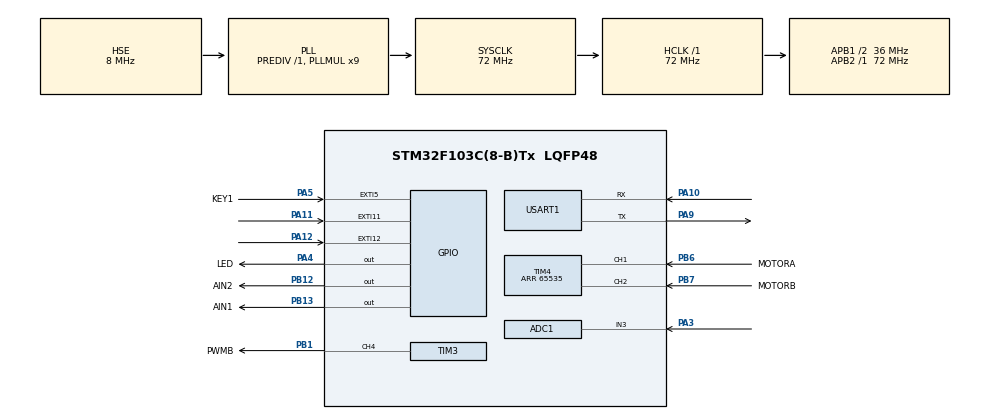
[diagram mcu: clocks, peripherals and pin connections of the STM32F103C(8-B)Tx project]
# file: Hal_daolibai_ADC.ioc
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ADC1.Channel-0\#ChannelRegularConversion=ADC_CHANNEL_3
ADC1.ContinuousConvMode=ENABLE
ADC1.DataAlign=ADC_DATAALIGN_RIGHT
ADC1.DiscontinuousConvMode=DISABLE
ADC1.EnableAnalogWatchDog=false
ADC1.EnableRegularConversion=ENABLE
ADC1.ExternalTrigConv=ADC_SOFTWARE_START
ADC1.InjNumberOfConversion=0
ADC1.NbrOfConversion=1
ADC1.NbrOfConversionFlag=1
ADC1.Rank-0\#ChannelRegularConversion=1
ADC1.SamplingTime-0\#ChannelRegularConversion=ADC_SAMPLETIME_55CYCLES_5
ADC1.ScanConvMode=ADC_SCAN_DISABLE
ADC1.master=1
Mcu.Family=STM32F1
Mcu.Name=STM32F103C(8-B)Tx
Mcu.Package=LQFP48
NVIC.ADC1_2_IRQn=true\:2\:0\:true\:false\:true\:true
NVIC.EXTI15_10_IRQn=true\:0\:0\:false\:false\:true\:true
NVIC.EXTI9_5_IRQn=true\:1\:0\:true\:false\:true\:true
NVIC.PriorityGroup=NVIC_PRIORITYGROUP_4
NVIC.TIM1_BRK_IRQn=true\:1\:0\:true\:false\:true\:true
NVIC.TIM1_UP_IRQn=true\:1\:0\:true\:false\:true\:true
PA10.Mode=Asynchronous
PA10.Signal=USART1_RX
PA11.GPIO_ModeDefaultEXTI=GPIO_MODE_IT_FALLING
PA11.GPIO_PuPd=GPIO_PULLUP
PA11.Signal=GPXTI11
PA12.GPIO_ModeDefaultEXTI=GPIO_MODE_IT_FALLING
PA12.GPIO_PuPd=GPIO_PULLUP
PA12.Signal=GPXTI12
PA13.Mode=Serial_Wire
PA13.Signal=SYS_JTMS-SWDIO
PA14.Mode=Serial_Wire
PA14.Signal=SYS_JTCK-SWCLK
PA3.Signal=ADCx_IN3
PA4.GPIO_Label=LED
PA4.GPIO_PuPd=GPIO_NOPULL
PA4.GPIO_Speed=GPIO_SPEED_FREQ_LOW
PA4.PinState=GPIO_PIN_SET
PA4.Signal=GPIO_Output
PA5.GPIO_Label=KEY1
PA5.GPIO_ModeDefaultEXTI=GPIO_MODE_IT_FALLING
PA5.GPIO_PuPd=GPIO_PULLUP
PA5.Signal=GPXTI5
PA9.Mode=Asynchronous
PA9.Signal=USART1_TX
PB1.GPIO_Label=PWMB
PB1.GPIO_Speed=GPIO_SPEED_FREQ_MEDIUM
PB1.Signal=S_TIM3_CH4
PB12.GPIO_Label=AIN2
PB12.GPIO_Speed=GPIO_SPEED_FREQ_LOW
PB12.Signal=GPIO_Output
PB13.GPIO_Label=AIN1
PB13.GPIO_Speed=GPIO_SPEED_FREQ_LOW
PB13.Signal=GPIO_Output
PB6.GPIO_Label=MOTORA
PB6.Signal=S_TIM4_CH1
PB7.GPIO_Label=MOTORB
PB7.Signal=S_TIM4_CH2
PD0-OSC_IN.Mode=HSE-External-Oscillator
PD0-OSC_IN.Signal=RCC_OSC_IN
PD1-OSC_OUT.Mode=HSE-External-Oscillator
PD1-OSC_OUT.Signal=RCC_OSC_OUT
ProjectManager.HeapSize=0x200
ProjectManager.StackSize=0x400
ProjectManager.TargetToolchain=MDK-ARM V5
RCC.ADCPresc=RCC_ADCPCLK2_DIV6
RCC.AHBFreq_Value=72000000
RCC.APB1CLKDivider=RCC_HCLK_DIV2
RCC.APB1Freq_Value=36000000
RCC.APB1TimFreq_Value=72000000
RCC.APB2Freq_Value=72000000
RCC.APB2TimFreq_Value=72000000
RCC.HCLKFreq_Value=72000000
RCC.PLLMUL=RCC_PLL_MUL9
RCC.PLLSourceVirtual=RCC_PLLSOURCE_HSE
RCC.SYSCLKFreq_VALUE=72000000
RCC.SYSCLKSource=RCC_SYSCLKSOURCE_PLLCLK
RCC.USBFreq_Value=72000000
SH.ADCx_IN3.0=ADC1_IN3,IN3
SH.S_TIM3_CH4.0=TIM3_CH4,PWM Generation4 CH4
SH.S_TIM4_CH1.0=TIM4_CH1,Encoder_Interface
SH.S_TIM4_CH2.0=TIM4_CH2,Encoder_Interface
TIM1.AutoReloadPreload=TIM_AUTORELOAD_PRELOAD_DISABLE
TIM1.Period=5000
TIM1.Prescaler=71
TIM1.RepetitionCounter=9
TIM3.Channel-PWM\ Generation4\ CH4=TIM_CHANNEL_4
TIM3.Period=10000
TIM3.Prescaler=1
TIM4.EncoderMode=TIM_ENCODERMODE_TI12
TIM4.IC1Filter=6
TIM4.IC2Filter=6
TIM4.Period=65535
USART1.VirtualMode=VM_ASYNC
VP_TIM1_VS_ClockSourceINT.Mode=Internal
VP_TIM3_VS_ClockSourceINT.Mode=Internal
board=custom

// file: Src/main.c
/**
  ******************************************************************************
  * @file           : main.c
  * @brief          : Main program body
  ******************************************************************************
  ** This notice applies to any and all portions of this file
  * that are not between comment pairs USER CODE BEGIN and
  * USER CODE END. Other portions of this file, whether
  * inserted by the user or by software development tools
  * are owned by their respective copyright owners.
  *
  * COPYRIGHT(c) 2019 STMicroelectronics
  *
  * Redistribution and use in source and binary forms, with or without modification,
  * are permitted provided that the following conditions are met:
  *   1. Redistributions of source code must retain the above copyright notice,
  *      this list of conditions and the following disclaimer.
  *   2. Redistributions in binary form must reproduce the above copyright notice,
  *      this list of conditions and the following disclaimer in the documentation
  *      and/or other materials provided with the distribution.
  *   3. Neither the name of STMicroelectronics nor the names of its contributors
  *      may be used to endorse or promote products derived from this software
  *      without specific prior written permission.
  *
  * THIS SOFTWARE IS PROVIDED BY THE COPYRIGHT HOLDERS AND CONTRIBUTORS "AS IS"
  * AND ANY EXPRESS OR IMPLIED WARRANTIES, INCLUDING, BUT NOT LIMITED TO, THE
  * IMPLIED WARRANTIES OF MERCHANTABILITY AND FITNESS FOR A PARTICULAR PURPOSE ARE
  * DISCLAIMED. IN NO EVENT SHALL THE COPYRIGHT HOLDER OR CONTRIBUTORS BE LIABLE
  * FOR ANY DIRECT, INDIRECT, INCIDENTAL, SPECIAL, EXEMPLARY, OR CONSEQUENTIAL
  * DAMAGES (INCLUDING, BUT NOT LIMITED TO, PROCUREMENT OF SUBSTITUTE GOODS OR
  * SERVICES; LOSS OF USE, DATA, OR PROFITS; OR BUSINESS INTERRUPTION) HOWEVER
  * CAUSED AND ON ANY THEORY OF LIABILITY, WHETHER IN CONTRACT, STRICT LIABILITY,
  * OR TORT (INCLUDING NEGLIGENCE OR OTHERWISE) ARISING IN ANY WAY OUT OF THE USE
  * OF THIS SOFTWARE, EVEN IF ADVISED OF THE POSSIBILITY OF SUCH DAMAGE.
  *
  ******************************************************************************
  */
#include "main.h"
#include "stm32f1xx_hal.h"
#include "adc.h"
#include "tim.h"
#include "usart.h"
#include "gpio.h"

/* USER CODE BEGIN Includes */
#include "led.h"
#include "encoder.h"
#include "motor.h"

#include "stdio.h"
#ifdef __GNUC__
#define PUTCHAR_PROTOTYPE int __io_putchar(int ch)
#else
#define PUTCHAR_PROTOTYPE int fputc(int ch, FILE *f)
#endif /* __GNUC__ */
PUTCHAR_PROTOTYPE
{
	HAL_UART_Transmit(&huart1 , (uint8_t *)&ch, 1, 0xFFFF);
	return ch;
}

/* USER CODE END Includes */

/* USER CODE BEGIN PV */
/* Private variables ---------------------------------------------------------*/

__IO float ADC_ConvertedValueLocal;			// 用于保存转换计算后的电压值
__IO float Angle_Balance;
__IO uint16_t ADC_ConvertedValue;			// AD转换结果值
__IO uint16_t timer_count=0;
__IO int Encoder;
__IO int Moto;
__IO uint8_t Flag_Stop=1;
__IO uint8_t start_key=0;
/* USER CODE END PV */

void SystemClock_Config(void);

/* USER CODE BEGIN PFP */
/* Private function prototypes -----------------------------------------------*/

/* USER CODE END PFP */

/* USER CODE BEGIN 0 */

/**************************************************************************
函数功能：AD采样
入口参数：ADC1 的通道
返回  值：AD转换结果
作    者：平衡小车之家
**************************************************************************/
u16 Get_Adc(u8 ch)
{
	//设置转换序列
	ADC1->SQR3&=0XFFFFFFE0;//规则序列1 通道ch
	ADC1->SQR3|=ch;
	ADC1->CR2|=1<<22;       //启动规则转换通道
	while(!(ADC1->SR&1<<1));//等待转换结束
	return ADC1->DR;		//返回adc值
}

void ADC_Delay(__IO uint32_t i){

	while(i--);
}

//获取通道ch的转换值，取times次,然后平均
//ch:通道编号
//times:获取次数
//返回值:通道ch的times次转换结果平均值
u16 Get_Adc_Average(u8 ch,u8 times)
{
	u32 temp_val=0;
	u8 t;
	for(t=0;t<times;t++)
	{
		temp_val+=Get_Adc(ch);
		ADC_Delay(200);
	}
	return temp_val/times;
}

/* USER CODE END 0 */

int main(void)
{

  /* MCU Configuration----------------------------------------------------------*/

  /* Reset of all peripherals, Initializes the Flash interface and the Systick. */
  HAL_Init();

  /* Configure the system clock */
  SystemClock_Config();

  /* Initialize all configured peripherals */
  MX_GPIO_Init();
  MX_USART1_UART_Init();
  MX_ADC1_Init();
  MX_TIM1_Init();
  MX_TIM4_Init();
  MX_TIM3_Init();
  /* USER CODE BEGIN 2 */
	Angle_Adc_Init();
	Motor_Init();
	HAL_TIM_Base_Start_IT(&htim1);
	HAL_TIM_Base_Start_IT(&htim4);
	HAL_TIM_Base_Start_IT(&htim3);
	HAL_TIM_Encoder_Start(&htim4,TIM_CHANNEL_ALL);
	printf("----这是一个ADC单通道电压采集+按键中断+定时器1 实验-----\n");
  /* USER CODE END 2 */

  /* Infinite loop */
  while (1)
  {

  /* USER CODE BEGIN 3 */
		Encoder=Read_Encoder(4);             	                   //===更新编码器位置信
		printf("当前编码器读值：  %d\r\n",Encoder);
		Angle_Balance=Get_Adc_Average(3,15);                     //===更新姿态
		HAL_Delay(200);
		printf("原始值 = %f \r\n", Angle_Balance);
		printf("			PWM当前值为：   %d\r\n",Moto);
		if(start_key==1)
		{
			AIN1=0;
			AIN2=0;
			start_key=0;
			HAL_Delay(100);
			Moto=-Moto;
			Set_Pwm(1000);
			AIN1=!AIN1;
			AIN2=!AIN2;
		}
		Set_Pwm(Moto);                        //===赋值给PWM寄存器
  }
  /* USER CODE END 3 */

}

void SystemClock_Config(void)
{

  RCC_OscInitTypeDef RCC_OscInitStruct;
  RCC_ClkInitTypeDef RCC_ClkInitStruct;
  RCC_PeriphCLKInitTypeDef PeriphClkInit;

    /**Initializes the CPU, AHB and APB busses clocks
    */
  RCC_OscInitStruct.OscillatorType = RCC_OSCILLATORTYPE_HSE;
  RCC_OscInitStruct.HSEState = RCC_HSE_ON;
  RCC_OscInitStruct.HSEPredivValue = RCC_HSE_PREDIV_DIV1;
  RCC_OscInitStruct.HSIState = RCC_HSI_ON;
  RCC_OscInitStruct.PLL.PLLState = RCC_PLL_ON;
  RCC_OscInitStruct.PLL.PLLSource = RCC_PLLSOURCE_HSE;
  RCC_OscInitStruct.PLL.PLLMUL = RCC_PLL_MUL9;
  if (HAL_RCC_OscConfig(&RCC_OscInitStruct) != HAL_OK)
  {
    _Error_Handler(__FILE__, __LINE__);
  }

    /**Initializes the CPU, AHB and APB busses clocks
    */
  RCC_ClkInitStruct.ClockType = RCC_CLOCKTYPE_HCLK|RCC_CLOCKTYPE_SYSCLK
                              |RCC_CLOCKTYPE_PCLK1|RCC_CLOCKTYPE_PCLK2;
  RCC_ClkInitStruct.SYSCLKSource = RCC_SYSCLKSOURCE_PLLCLK;
  RCC_ClkInitStruct.AHBCLKDivider = RCC_SYSCLK_DIV1;
  RCC_ClkInitStruct.APB1CLKDivider = RCC_HCLK_DIV2;
  RCC_ClkInitStruct.APB2CLKDivider = RCC_HCLK_DIV1;

  if (HAL_RCC_ClockConfig(&RCC_ClkInitStruct, FLASH_LATENCY_2) != HAL_OK)
  {
    _Error_Handler(__FILE__, __LINE__);
  }

  PeriphClkInit.PeriphClockSelection = RCC_PERIPHCLK_ADC;
  PeriphClkInit.AdcClockSelection = RCC_ADCPCLK2_DIV6;
  if (HAL_RCCEx_PeriphCLKConfig(&PeriphClkInit) != HAL_OK)
  {
    _Error_Handler(__FILE__, __LINE__);
  }

    /**Configure the Systick interrupt time
    */
  HAL_SYSTICK_Config(HAL_RCC_GetHCLKFreq()/1000);

    /**Configure the Systick
    */
  HAL_SYSTICK_CLKSourceConfig(SYSTICK_CLKSOURCE_HCLK);

  /* SysTick_IRQn interrupt configuration */
  HAL_NVIC_SetPriority(SysTick_IRQn, 0, 0);
}

/* USER CODE BEGIN 4 */

/**
  * 函数功能: 按键外部中断服务函数
  * 输入参数: GPIO_Pin：中断引脚
  * 返 回 值: 无
  * 说    明: 无
  */
void HAL_GPIO_EXTI_Callback(uint16_t GPIO_Pin)
{
	if(GPIO_Pin==GPIO_PIN_11)
  {
    HAL_Delay(10);/* 延时一小段时间，消除抖动 */
    if(HAL_GPIO_ReadPin(GPIOA,GPIO_PIN_11)==0)
    {
			Moto-=100;
    }
    __HAL_GPIO_EXTI_CLEAR_IT(GPIO_PIN_11);
  }

		if(GPIO_Pin==GPIO_PIN_12)
  {
    HAL_Delay(10);/* 延时一小段时间，消除抖动 */
    if(HAL_GPIO_ReadPin(GPIOA,GPIO_PIN_12)==0)
    {
			Moto+=100;
    }
    __HAL_GPIO_EXTI_CLEAR_IT(GPIO_PIN_12);
  }

	 if(GPIO_Pin==GPIO_PIN_5)
  {
    HAL_Delay(10);/* 延时一小段时间，消除抖动 */
    if(HAL_GPIO_ReadPin(GPIOA,GPIO_PIN_5)==0)
    {
			start_key=!start_key;
    }
    __HAL_GPIO_EXTI_CLEAR_IT(GPIO_PIN_5);
  }
}

/**
  * 函数功能: 非阻塞模式下定时器的回调函数
  * 输入参数: htim：定时器句柄
  * 返 回 值: 无
  * 说    明: 无
  */
void HAL_TIM_PeriodElapsedCallback(TIM_HandleTypeDef *htim)
{
	if (htim == (&htim1))
	{
			timer_count++;
		if(timer_count==20)
		{
			timer_count=0;
			LED_TOGGLE;
		}
	}

}

///**
//  * 函数功能: AD转换结束回调函数
//  * 输入参数: hadc：AD设备类型句柄
//  * 返 回 值: 无
//  * 说    明: 无
//  */
//void HAL_ADC_ConvCpltCallback(ADC_HandleTypeDef* hadc)
//{
//  ADC_ConvertedValue=HAL_ADC_GetValue(&hadc1);
//}

/* USER CODE END 4 */

void _Error_Handler(char *file, int line)
{
  while(1)
  {
  }
}

/************************ (C) COPYRIGHT STMicroelectronics *****END OF FILE****/
